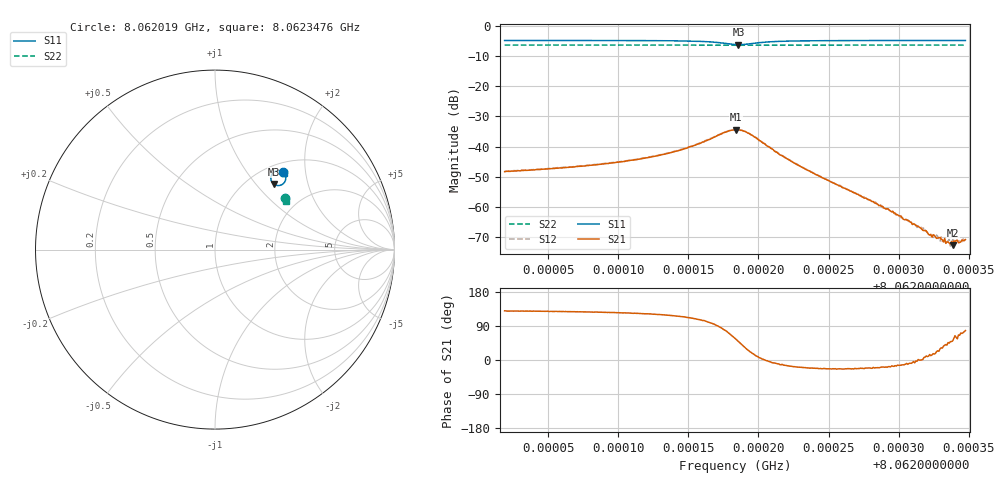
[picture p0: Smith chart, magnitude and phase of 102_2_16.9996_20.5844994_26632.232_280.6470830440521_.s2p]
#  HZ  S  RI  R  50.00
! Rohde & Schwarz Vector Network Analyzer
! Rohde-Schwarz,ZNB20-2Port,1311601062101988,3.16
! Created: UTC 3/20/2024, 10:56:40 PM
! freq[Hz]  re:S11  im:S11  re:S21  im:S21  re:S12  im:S12  re:S22  im:S22
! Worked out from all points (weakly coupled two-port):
!   401 points, 8.062019 GHz to 8.0623476 GHz, reference 50 ohm
!   highest |S21| = -34.42 dB at 8.0621841 GHz (marker M1); lowest = -72.6 dB at 8.0623386 GHz (marker M2)
!   lowest |S11| = -6.2 dB at 8.0621857 GHz (marker M3), VSWR 2.93, Z = 64.7 + j62.3 ohm
!   |S11| at or under -10 dB: nowhere
!   |S22| runs from -6.4 to -6.3 dB; largest |S21 - S12| = 0.0014
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8.06201896e9  0.3777 0.4341  -0.00245 0.00294  -0.00228 0.00317  0.3873 0.2888
8.06207401e9  0.3834 0.4281  -0.00285 0.00377  -0.00266 0.00398  0.389 0.2861
8.06210359e9  0.3873 0.4229  -0.00318 0.00468  -0.00296 0.00491  0.3902 0.2843
8.06212906e9  0.3915 0.4152  -0.00359 0.00617  -0.00325 0.00648  0.3911 0.2827
8.06214878e9  0.3945 0.403  -0.00357 0.0087  -0.00313 0.00903  0.3916 0.2813
8.06216603e9  0.39 0.3797  -0.00188 0.0133  -0.00085 0.0137  0.3917 0.2794
8.06217671e9  0.3671 0.3592  0.00391 0.017  0.00511 0.0169  0.3906 0.2785
8.06218328e9  0.3377 0.3595  0.0103 0.0159  0.0115 0.0155  0.3894 0.2787
8.06218411e9  0.334 0.3612  0.0111 0.0154  0.0121 0.0148  0.3894 0.2789
8.06218575e9  0.3268 0.3657  0.0125 0.0142  0.0136 0.0135  0.3892 0.2792
8.06219479e9  0.3113 0.404  0.0147 0.00535  0.0151 0.00451  0.3894 0.2805
8.06221615e9  0.3429 0.4394  0.00701 -0.00155  0.00707 -0.00197  0.392 0.2806
8.06223833e9  0.3606 0.4399  0.00346 -0.00134  0.00341 -0.00157  0.3935 0.2792
8.06229338e9  0.376 0.4341  0.000835 -0.000263  0.000832 -0.000319  0.3957 0.2763
8.06231145e9  0.3788 0.4326  0.00051 -6.57e-05  0.000501 -8.36e-05  0.3964 0.2753
8.06231638e9  0.3795 0.4321  0.00043 2.61e-06  0.000455 -5.15e-06  0.3966 0.275
8.06232296e9  0.3803 0.4315  0.000343 7.08e-05  0.00033 4.94e-05  0.3967 0.2747
8.06233117e9  0.381 0.4309  0.000243 0.000149  0.00022 0.000151  0.3971 0.2743
8.06233528e9  0.3816 0.4305  0.00018 0.000186  0.000183 0.000194  0.3973 0.2741
8.06233857e9  0.382 0.4303  0.000149 0.000181  0.000205 0.000198  0.3974 0.2739
8.06234514e9  0.3825 0.4299  9.66e-05 0.000266  0.000111 0.000235  0.3975 0.2735
8.0623476e9  0.3829 0.4295  6.22e-05 0.00028  0.00011 0.000279  0.3977 0.2734
